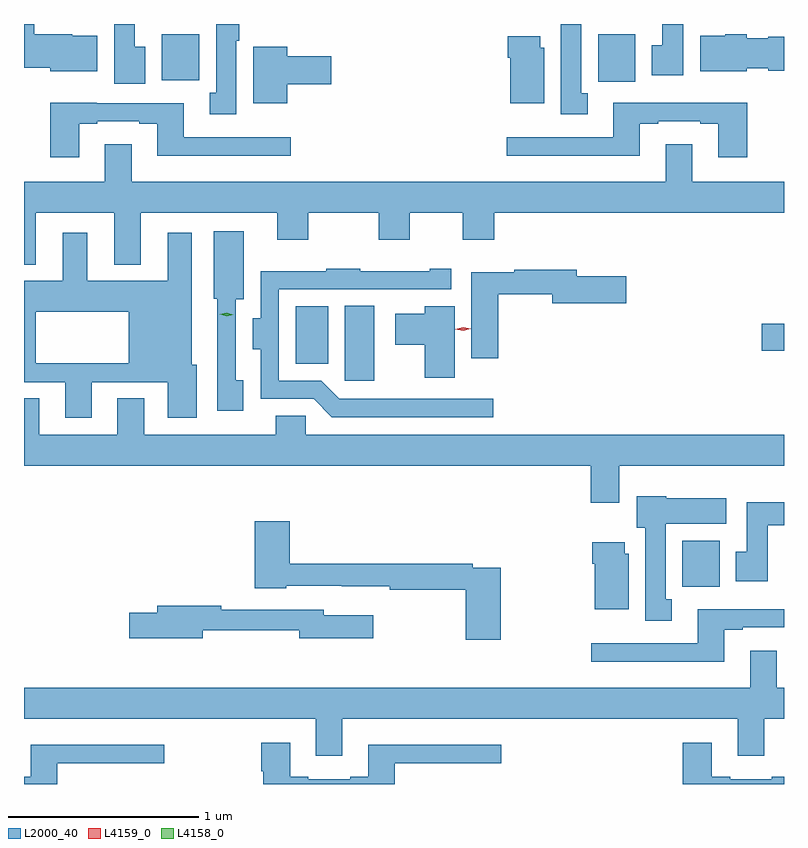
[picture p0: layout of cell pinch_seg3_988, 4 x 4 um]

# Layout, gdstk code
import gdstk
lib = gdstk.Library(unit=1e-6, precision=1e-09)
def R(c, l, rs):  # rectangles x0, y0, x1, y1
    for r in rs: c.add(gdstk.rectangle(r[:2], r[2:], *l))
def P(c, l, *ps):  # polygons
    for p in ps: c.add(gdstk.Polygon(p, *l))
L2000_40 = (2000, 40)
L4158_0 = (4158, 0)
L4159_0 = (4159, 0)

pinch_seg3_988 = lib.new_cell('pinch_seg3_988')
R(pinch_seg3_988, L2000_40, [(421.772,693.62,421.969,693.862), (419.996,694.703,420.151,695.099), (419.738,694.793,419.908,695.095), (422.19,694.861,422.307,695.003), (421.329,696.276,421.525,696.526), (419.033,696.284,419.23,696.526)])
P(pinch_seg3_988, L2000_40, [(418.693,696.52),(418.56,696.52),(418.56,696.526),(418.36,696.526),(418.36,696.581),(418.307,696.581),(418.307,696.35),(418.446,696.35),(418.446,696.332),(418.693,696.332)],
  [(418.945,696.46),(418.891,696.46),(418.891,696.581),(418.781,696.581),(418.781,696.267),(418.945,696.267)],
  [(421.777,696.581),(421.667,696.581),(421.667,696.468),(421.61,696.468),(421.61,696.312),(421.777,696.312)],
  [(421.273,696.217),(421.24,696.217),(421.24,696.581),(421.133,696.581),(421.133,696.105),(421.273,696.105)],
  [(419.425,696.494),(419.44,696.494),(419.44,696.581),(419.318,696.581),(419.318,696.218),(419.285,696.218),(419.285,696.105),(419.425,696.105)],
  [(422.112,696.347),(422.223,696.347),(422.223,696.335),(422.307,696.335),(422.307,696.513),(422.223,696.513),(422.223,696.505),(422.112,696.505),(422.112,696.526),(421.998,696.526),(421.998,696.52),(421.865,696.52),(421.865,696.332),(422.112,696.332)],
  [(421.045,696.456),(421.024,696.456),(421.024,696.517),(420.854,696.517),(420.854,696.404),(420.866,696.404),(420.866,696.164),(421.045,696.164)],
  [(419.692,696.263),(419.923,696.263),(419.923,696.41),(419.692,696.41),(419.692,696.46),(419.513,696.46),(419.513,696.164),(419.692,696.164)],
  [(422.114,696.166),(421.409,696.166),(421.409,695.985),(420.849,695.985),(420.849,695.888),(421.549,695.888),(421.549,696.057),(421.645,696.057),(421.645,696.069),(421.865,696.069),(421.865,696.057),(421.961,696.057),(421.961,695.88),(422.114,695.88)],
  [(418.597,696.057),(418.693,696.057),(418.693,696.069),(418.913,696.069),(418.913,696.057),(419.009,696.057),(419.009,695.888),(419.71,695.888),(419.71,695.985),(419.149,695.985),(419.149,696.165),(418.689,696.165),(418.689,696.166),(418.445,696.166),(418.445,695.88),(418.597,695.88)],
  [(418.369,695.588),(418.781,695.588),(418.781,695.315),(418.921,695.315),(418.921,695.588),(419.639,695.588),(419.639,695.445),(419.803,695.445),(419.803,695.588),(420.173,695.588),(420.173,695.445),(420.337,695.445),(420.337,695.588),(420.617,695.588),(420.617,695.445),(420.781,695.445),(420.781,695.588),(422.307,695.588),(422.307,695.752),(421.825,695.752),(421.825,695.947),(421.685,695.947),(421.685,695.752),(418.873,695.752),(418.873,695.947),(418.733,695.947),(418.733,695.752),(418.307,695.752),(418.307,695.315),(418.369,695.315)],
  [(419.461,694.705),(419.421,694.705),(419.421,695.132),(419.464,695.132),(419.464,695.491),(419.306,695.491),(419.306,695.136),(419.324,695.136),(419.324,694.888),(419.325,694.888),(419.325,694.545),(419.461,694.545)],
  [(418.523,694.695),(418.523,694.509),(418.663,694.509),(418.663,694.695),(419.063,694.695),(419.063,694.509),(419.215,694.509),(419.215,694.788),(419.191,694.788),(419.191,695.482),(419.063,695.482),(419.063,695.23),(418.639,695.23),(418.639,695.482),(418.511,695.482),(418.511,695.23),(418.307,695.23),(418.307,694.796),(418.368,694.796),(418.368,695.066),(418.859,695.066),(418.859,694.796),(418.368,694.796),(418.307,694.796),(418.307,694.695)],
  [(420.778,694.608),(419.967,694.608),(419.871,694.704),(419.649,694.704),(419.649,695.184),(420.556,695.184),(420.556,695.293),(420.443,695.293),(420.443,695.281),(420.077,695.281),(420.077,695.293),(419.899,695.293),(419.899,695.281),(419.553,695.281),(419.553,695.032),(419.51,695.032),(419.51,694.868),(419.552,694.868),(419.552,694.608),(419.832,694.608),(419.928,694.512),(420.778,694.512)],
  [(420.803,695.158),(421.088,695.158),(421.088,695.111),(421.477,695.111),(421.477,695.253),(421.216,695.253),(421.216,695.287),(420.886,695.287),(420.886,695.275),(420.662,695.275),(420.662,694.821),(420.803,694.821)],
  [(420.574,695.095),(420.416,695.095),(420.416,695.056),(420.261,695.056),(420.261,694.892),(420.416,694.892),(420.416,694.719),(420.574,694.719)],
  [(421.441,694.256),(422.307,694.256),(422.307,694.42),(419.79,694.42),(419.79,694.518),(419.632,694.518),(419.632,694.42),(418.939,694.42),(418.939,694.61),(418.799,694.61),(418.799,694.42),(418.387,694.42),(418.387,694.61),(418.307,694.61),(418.307,694.256),(421.289,694.256),(421.289,694.062),(421.441,694.062)],
  [(421.717,693.554),(421.684,693.554),(421.684,693.95),(422.002,693.95),(422.002,694.084),(421.686,694.084),(421.686,694.096),(421.532,694.096),(421.532,693.93),(421.577,693.93),(421.577,693.441),(421.717,693.441)],
  [(422.221,693.944),(422.307,693.944),(422.307,694.063),(422.111,694.063),(422.111,693.804),(422.054,693.804),(422.054,693.648),(422.221,693.648)],
  [(420.815,693.72),(420.668,693.72),(420.668,693.74),(419.705,693.74),(419.705,693.964),(419.522,693.964),(419.522,693.611),(419.688,693.611),(419.688,693.624),(419.98,693.624),(419.98,693.623),(420.232,693.623),(420.232,693.604),(420.632,693.604),(420.632,693.339),(420.815,693.339)],
  [(421.489,693.792),(421.468,693.792),(421.468,693.853),(421.298,693.853),(421.298,693.74),(421.31,693.74),(421.31,693.5),(421.489,693.5)],
  [(419.248,693.39),(419.756,693.39),(419.756,693.347),(420.145,693.347),(420.145,693.469),(419.884,693.469),(419.884,693.498),(419.344,693.498),(419.344,693.518),(419.009,693.518),(419.009,693.482),(418.86,693.482),(418.86,693.347),(419.248,693.347)],
  [(421.993,693.393),(422.089,693.393),(422.089,693.405),(422.307,693.405),(422.307,693.502),(421.853,693.502),(421.853,693.321),(421.293,693.321),(421.293,693.224),(421.993,693.224)],
  [(419.983,692.924),(422.063,692.924),(422.063,692.73),(422.203,692.73),(422.203,692.924),(422.307,692.924),(422.307,693.088),(422.269,693.088),(422.269,693.283),(422.129,693.283),(422.129,693.088),(418.307,693.088),(418.307,692.924),(419.843,692.924),(419.843,692.73),(419.983,692.73)],
  [(422.307,692.62),(422.243,692.62),(422.243,692.607),(422.023,692.607),(422.023,692.62),(421.927,692.62),(421.927,692.797),(421.775,692.797),(421.775,692.581),(422.307,692.581)],
  [(420.259,692.691),(420.82,692.691),(420.82,692.788),(420.119,692.788),(420.119,692.62),(420.023,692.62),(420.023,692.607),(419.803,692.607),(419.803,692.62),(419.707,692.62),(419.707,692.797),(419.555,692.797),(419.555,692.649),(419.567,692.649),(419.567,692.581),(420.259,692.581)],
  [(418.483,692.691),(419.044,692.691),(419.044,692.788),(418.343,692.788),(418.343,692.62),(418.307,692.62),(418.307,692.581),(418.483,692.581)])
P(pinch_seg3_988, L4158_0, [(419.373,695.042),(419.337,695.053),(419.337,695.054),(419.337,695.054),(419.373,695.062),(419.409,695.051),(419.409,695.051),(419.409,695.051)])
P(pinch_seg3_988, L4159_0, [(420.619,694.966),(420.578,694.975),(420.578,694.975),(420.578,694.975),(420.618,694.986),(420.659,694.976),(420.659,694.976),(420.659,694.976)])

lib.write_gds('pinch_seg3_988.gds')
